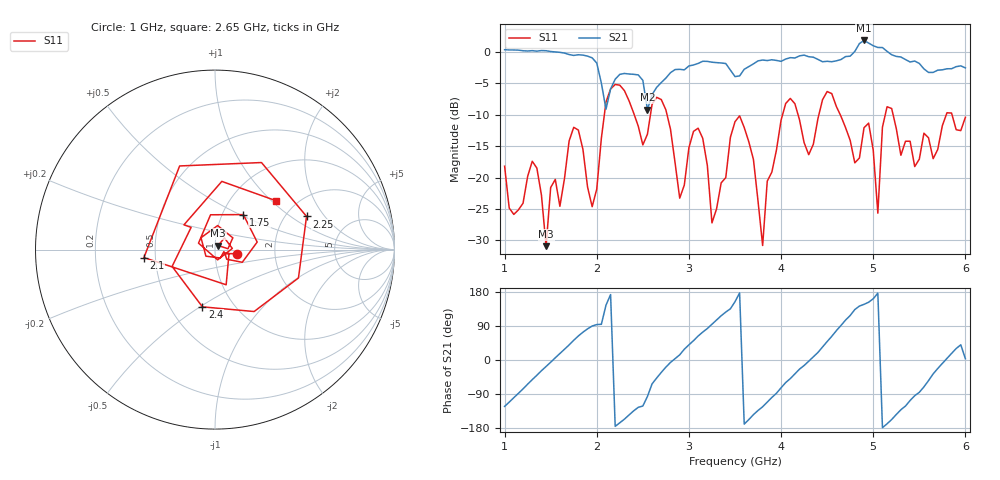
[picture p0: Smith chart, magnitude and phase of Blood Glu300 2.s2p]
! NanoVNA-App
! Date: 2024-03-21 03:01:42
! Start: 1GHz Stop: 6GHz Points: 101
! S-Parameter data: F S11 S21 S12 S22
# Hz S RI R 50
!	Frequency	S11_Real	S11_Imag	S21_Real	S21_Imag	S12_Real	S12_Imag	S22_Real	S22_Imag
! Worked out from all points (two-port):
!   101 points, 1 GHz to 6 GHz, reference 50 ohm
!   highest |S21| = 1.80 dB at 4.9 GHz (marker M1); lowest = -9.2 dB at 2.55 GHz (marker M2)
!   |S21| within 3 dB of the highest: start of sweep to 1.964 GHz; 4.653 GHz to 5.346 GHz (692.7 MHz wide, 13.9 % of centre)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
!   lowest |S11| = -30.9 dB at 1.45 GHz (marker M3), VSWR 1.06, Z = 51.7 + j2.36 ohm
!   |S11| at or under -10 dB: start of sweep to 2.083 GHz; 2.762 GHz to 4.016 GHz (1.254 GHz wide, 37 % of centre); 5.216 GHz to 5.793 GHz (577 MHz wide, 10.5 % of centre)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
!   S12 and S22 are empty: the file has one direction only
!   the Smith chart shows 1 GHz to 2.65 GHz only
!   S11 on the Smith chart (normalised r, x): 1 GHz: 1.27, -0.06; 1.75 GHz: 1.25, +0.52; 2.1 GHz: 0.43, -0.05; 2.25 GHz: 2.57, +1.35; 2.4 GHz: 0.72, -0.51; 2.65 GHz: 1.58, +1.06
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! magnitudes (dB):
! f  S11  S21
! 1 GHz  -18.2  0.3
! 1.45 GHz  -30.9  0.2
! 1.75 GHz  -12.0  -0.6
! 1.85 GHz  -15.5  -0.5
! 1.95 GHz  -24.6  -1.0
! 2.1 GHz  -8.0  -9.1
! 2.25 GHz  -5.3  -3.6
! 2.4 GHz  -9.7  -3.6
! 2.55 GHz  -13.1  -9.2
! 2.65 GHz  -7.2  -5.7
! 2.7 GHz  -7.6  -4.9
! 2.9 GHz  -23.3  -2.8
! 3.15 GHz  -13.8  -1.5
! 3.25 GHz  -27.2  -1.7
! 3.5 GHz  -11.1  -3.9
! 3.8 GHz  -30.8  -1.3
! 4.05 GHz  -8.2  -1.2
! 4.35 GHz  -14.7  -0.9
! 4.9 GHz  -12.1  1.8
! 5.05 GHz  -25.7  0.7
! 5.2 GHz  -9.0  -0.5
! 6 GHz  -10.4  -2.6
